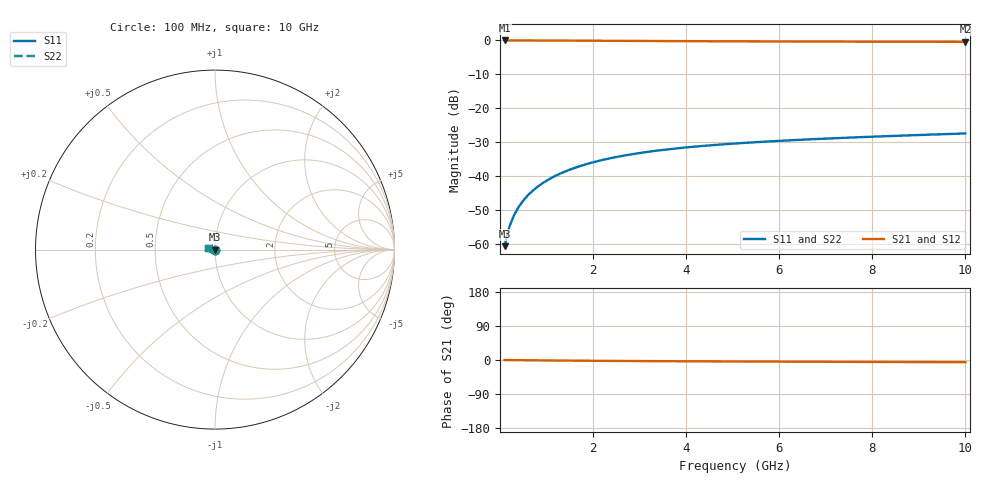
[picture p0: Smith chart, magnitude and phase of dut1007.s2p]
! Touchstone file exported from HFSS 2024.1.0
!  File:  C:/UserFiles/LocalFiles/RDL_TSV_Batchsim/temp_TSV1_1007_1780058507.aedt
!  Generated:  08:47:37 PM May 29, 2026
!  Design:  TSV1
!  Project:  temp_TSV1_1007_1780058507
!  Setup:  Setup1
!  Solution:  Sweep
! Variables:
!  dtsv = 6.69um
!  hbump = 3um
!  htsv = 92.36um
!  lrdl = 252.1521522um
!  p = 40
!  p1 = 43.96um
!  t = 500um
!  trdl = 3um
!  wrdl = 24.89489489um
# GHz S MA R 50.000000
! Terminal data exported
! Port[1] = TSV22_T1
! Port[2] = TSV22_T2
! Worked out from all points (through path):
!   100 points, 100 MHz to 10 GHz, reference 50 ohm
!   highest |S21| = 0.00 dB at 100 MHz (marker M1); lowest = -0.4 dB at 10 GHz (marker M2)
!   lowest |S11| = -60.6 dB at 100 MHz (marker M3), VSWR 1.00, Z = 50 - j0.088 ohm
!   |S11| at or under -10 dB: start of sweep to end of sweep
!   |S22| runs from -60.6 to -27.4 dB; largest |S21 - S12| = 8.1e-15
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0.1  0.0009377 -69.7  0.9996 -0.1  0.9996 -0.1  0.0009377 -69.7
! Gamma 0 0 0 0
! Port Impedance 50 0 50 0
0.2  0.001792 -82.1  0.9995 -0.2  0.9995 -0.2  0.001792 -82.1
0.3  0.002661 -87.7  0.9994 -0.4  0.9994 -0.4  0.002661 -87.7
0.4  0.00353 -91.4  0.9992 -0.5  0.9992 -0.5  0.00353 -91.4
0.5  0.004396 -94.3  0.9989 -0.6  0.9989 -0.6  0.004396 -94.3
0.6  0.005256 -96.9  0.9986 -0.7  0.9986 -0.7  0.005256 -96.9
0.7  0.006109 -99.2  0.9983 -0.8  0.9983 -0.8  0.006109 -99.2
0.8  0.006953 -101.3  0.9979 -0.9  0.9979 -0.9  0.006953 -101.3
0.9  0.007787 -103.4  0.9974 -1.0  0.9974 -1.0  0.007787 -103.4
1.1  0.009422 -107.3  0.9964 -1.2  0.9964 -1.2  0.009422 -107.3
1.4  0.01178 -112.8  0.9946 -1.5  0.9946 -1.5  0.01178 -112.8
1.6  0.01327 -116.3  0.9933 -1.7  0.9933 -1.7  0.01327 -116.3
1.8  0.01471 -119.6  0.9919 -1.9  0.9919 -1.9  0.01471 -119.6
2.1  0.01675 -124.4  0.9897 -2.2  0.9897 -2.2  0.01675 -124.4
2.5  0.01924 -130.4  0.9866 -2.5  0.9866 -2.5  0.01924 -130.4
2.9  0.02149 -136.1  0.9836 -2.8  0.9836 -2.8  0.02149 -136.1
3.4  0.024 -142.6  0.9799 -3.1  0.9799 -3.1  0.024 -142.6
4.2  0.0274 -151.9  0.9746 -3.5  0.9746 -3.5  0.0274 -151.9
5.1  0.03057 -161.0  0.9696 -3.9  0.9696 -3.9  0.03057 -161.0
6.7  0.03514 -174.5  0.9629 -4.6  0.9629 -4.6  0.03514 -174.5
8.4  0.03922 173.9  0.958 -5.3  0.958 -5.3  0.03922 173.9
10  0.04276 164.8  0.9547 -5.9  0.9547 -5.9  0.04276 164.8
